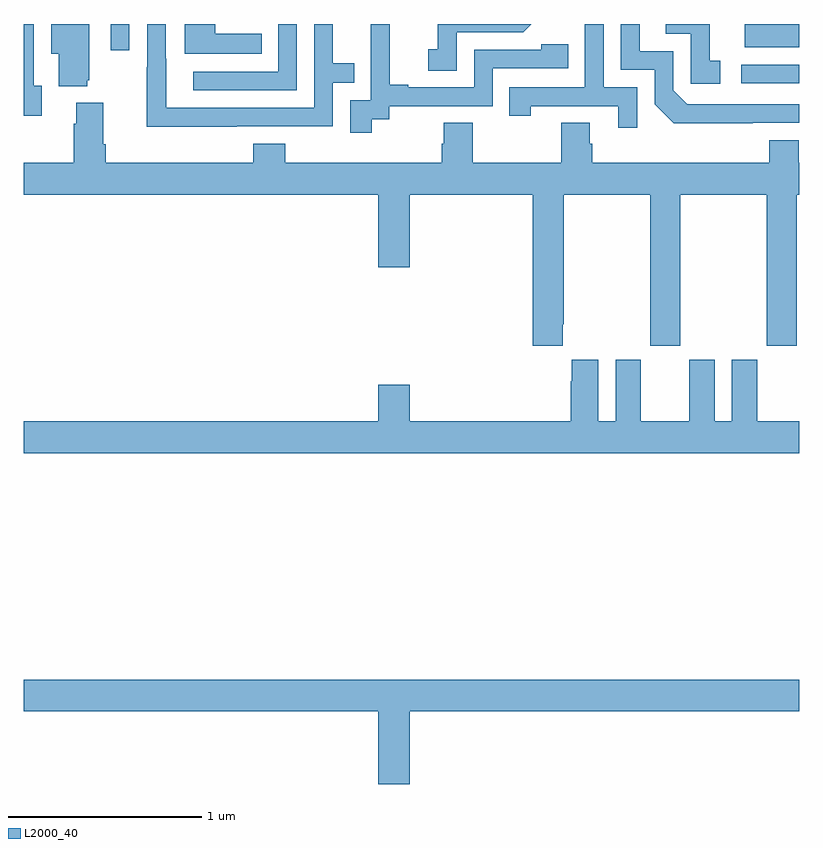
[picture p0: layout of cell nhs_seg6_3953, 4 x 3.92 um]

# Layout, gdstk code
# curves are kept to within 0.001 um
import gdstk
lib = gdstk.Library(unit=1e-6, precision=1e-09)
def R(c, l, rs):  # rectangles x0, y0, x1, y1
    for r in rs: c.add(gdstk.rectangle(r[:2], r[2:], *l))
def P(c, l, *ps):  # polygons
    for p in ps: c.add(gdstk.Polygon(p, *l))
L2000_40 = (2000, 40)

nhs_seg6_3953 = lib.new_cell('nhs_seg6_3953')
R(nhs_seg6_3953, L2000_40, [(346.701,997.194,347,997.29), (343.449,997.365,343.545,997.5), (346.718,997.379,347,997.5)])
P(nhs_seg6_3953, L2000_40, [(344.099,996.972),(344.595,996.972),(344.595,997.197),(344.705,997.197),(344.705,997.298),(344.595,997.298),(344.595,997.5),(344.499,997.5),(344.499,997.068),(343.735,997.068),(343.735,997.322),(343.734,997.322),(343.734,997.5),(343.638,997.5),(343.638,997.277),(343.636,997.277),(343.636,996.971),(344.099,996.971)],
  [(344.409,997.5),(344.313,997.5),(344.313,997.254),(343.875,997.254),(343.875,997.158),(344.409,997.158)],
  [(346.164,997.173),(345.99,997.173),(345.99,997.5),(345.894,997.5),(345.894,997.173),(345.505,997.173),(345.505,997.026),(345.616,997.026),(345.616,997.077),(346.067,997.077),(346.067,996.966),(346.164,996.966)],
  [(345.234,997.458),(345.576,997.458),(345.618,997.5),(345.136,997.5),(345.136,997.369),(345.087,997.369),(345.087,997.26),(345.234,997.26)],
  [(344.228,997.45),(343.989,997.45),(343.989,997.5),(343.832,997.5),(343.832,997.346),(344.228,997.346)],
  [(343.093,997.182),(343.053,997.182),(343.053,997.5),(343,997.5),(343,997.026),(343.093,997.026)],
  [(344.794,997.009),(344.886,997.009),(344.886,997.077),(345.42,997.077),(345.42,997.272),(345.809,997.272),(345.809,997.395),(345.669,997.395),(345.669,997.368),(345.324,997.368),(345.324,997.173),(344.983,997.173),(344.983,997.186),(344.888,997.186),(344.888,997.469),(344.889,997.469),(344.889,997.5),(344.789,997.5),(344.789,997.337),(344.79,997.337),(344.79,997.107),(344.685,997.107),(344.685,996.939),(344.794,996.939)],
  [(343.328,997.209),(343.339,997.209),(343.339,997.5),(343.142,997.5),(343.142,997.346),(343.181,997.346),(343.181,997.178),(343.328,997.178)],
  [(346.76,996.99),(347,996.99),(347,997.086),(346.422,997.086),(346.35,997.158),(346.35,997.359),(346.177,997.359),(346.177,997.5),(346.08,997.5),(346.08,997.263),(346.254,997.263),(346.254,997.086),(346.352,996.989)],
  [(346.591,997.311),(346.538,997.311),(346.538,997.5),(346.311,997.5),(346.311,997.449),(346.44,997.449),(346.44,997.191),(346.591,997.191)],
  [(345.781,995.953),(345.786,995.953),(345.786,996.62),(346.231,996.62),(346.231,995.841),(346.386,995.841),(346.386,996.62),(346.831,996.62),(346.831,995.841),(346.986,995.841),(346.986,996.62),(347,996.62),(347,996.784),(346.996,996.784),(346.996,996.901),(346.844,996.901),(346.844,996.784),(345.932,996.784),(345.932,996.882),(345.919,996.882),(345.919,996.992),(345.772,996.992),(345.772,996.784),(345.315,996.784),(345.315,996.992),(345.167,996.992),(345.167,996.882),(345.155,996.882),(345.155,996.784),(344.348,996.784),(344.348,996.883),(344.183,996.883),(344.183,996.784),(343.424,996.784),(343.424,996.88),(343.411,996.88),(343.411,997.093),(343.271,997.093),(343.271,996.986),(343.259,996.986),(343.259,996.784),(343,996.784),(343,996.62),(344.828,996.62),(344.828,996.246),(344.992,996.246),(344.992,996.62),(345.626,996.62),(345.626,995.841),(345.781,995.841)],
  [(347,995.452),(346.783,995.452),(346.783,995.77),(346.652,995.77),(346.652,995.452),(346.564,995.452),(346.564,995.77),(346.433,995.77),(346.433,995.452),(346.183,995.452),(346.183,995.77),(346.052,995.77),(346.052,995.452),(345.964,995.452),(345.964,995.77),(345.827,995.77),(345.827,995.657),(345.821,995.657),(345.821,995.452),(344.992,995.452),(344.992,995.641),(344.828,995.641),(344.828,995.452),(343,995.452),(343,995.288),(347,995.288)],
  [(344.992,993.956),(347,993.956),(347,994.12),(343,994.12),(343,993.956),(344.828,993.956),(344.828,993.582),(344.992,993.582)])

lib.write_gds('nhs_seg6_3953.gds')
